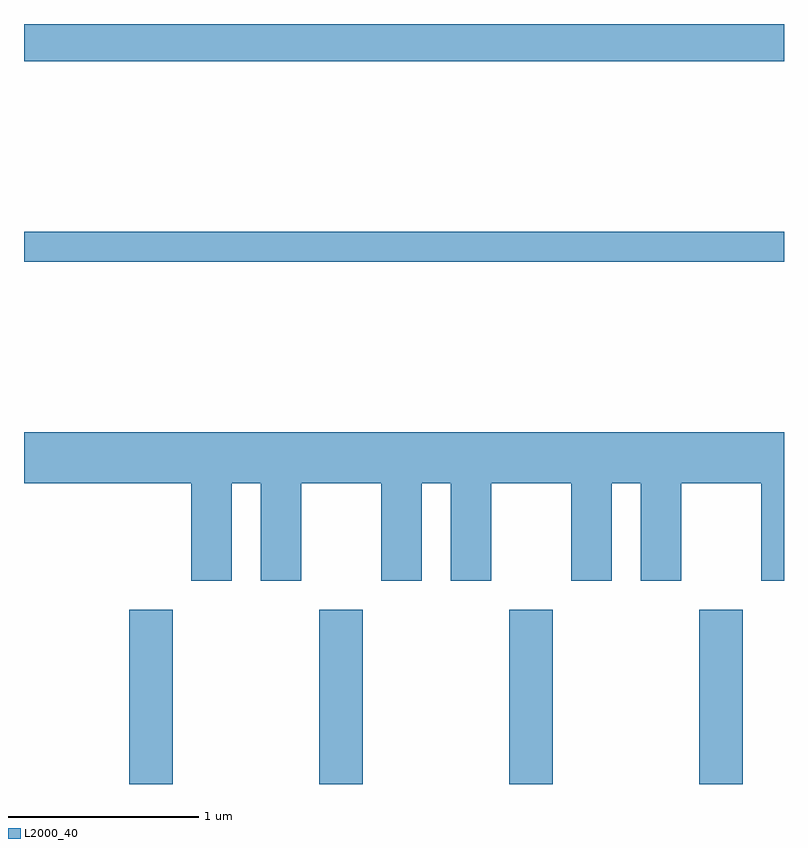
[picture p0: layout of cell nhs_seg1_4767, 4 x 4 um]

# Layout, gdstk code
import gdstk
lib = gdstk.Library(unit=1e-6, precision=1e-09)
def R(c, l, rs):  # rectangles x0, y0, x1, y1
    for r in rs: c.add(gdstk.rectangle(r[:2], r[2:], *l))
def A(c, l, x, y, w, h, nx, ny, dx, dy):  # array of equal rectangles
    R(c, l, [(x+i*dx, y+j*dy, x+i*dx+w, y+j*dy+h) for i in range(nx) for j in range(ny)])
def P(c, l, *ps):  # polygons
    for p in ps: c.add(gdstk.Polygon(p, *l))
L2000_40 = (2000, 40)

nhs_seg1_4767 = lib.new_cell('nhs_seg1_4767')
A(nhs_seg1_4767, L2000_40, 328.166, 955.712, 0.228, 0.917, 4, 1, 1, 0)
R(nhs_seg1_4767, L2000_40, [(327.611,958.461,331.611,958.619), (327.611,959.516,331.611,959.712)])
P(nhs_seg1_4767, L2000_40, [(327.611,957.296),(328.491,957.296),(328.491,956.781),(328.704,956.781),(328.704,957.296),(328.856,957.296),(328.856,956.781),(329.069,956.781),(329.069,957.296),(329.491,957.296),(329.491,956.781),(329.704,956.781),(329.704,957.296),(329.856,957.296),(329.856,956.781),(330.069,956.781),(330.069,957.296),(330.491,957.296),(330.491,956.781),(330.704,956.781),(330.704,957.296),(330.856,957.296),(330.856,956.781),(331.069,956.781),(331.069,957.296),(331.491,957.296),(331.491,956.781),(331.611,956.781),(331.611,957.564),(327.611,957.564)])

lib.write_gds('nhs_seg1_4767.gds')
